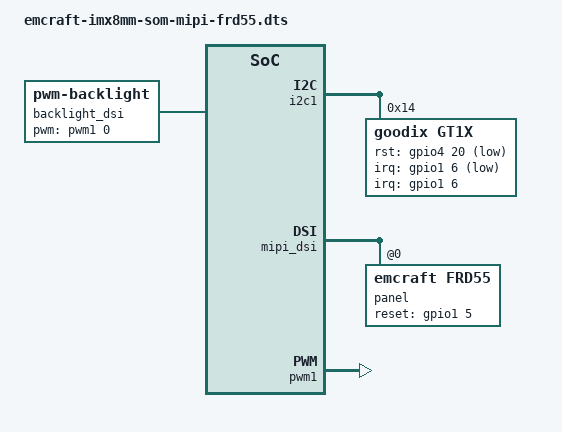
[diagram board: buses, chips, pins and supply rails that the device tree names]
/*
 * Copyright 2019 Emcraft Systems
 *
 * This program is free software; you can redistribute it and/or
 * modify it under the terms of the GNU General Public License
 * as published by the Free Software Foundation; either version 2
 * of the License, or (at your option) any later version.
 *
 * This program is distributed in the hope that it will be useful,
 * but WITHOUT ANY WARRANTY; without even the implied warranty of
 * MERCHANTABILITY or FITNESS FOR A PARTICULAR PURPOSE.  See the
 * GNU General Public License for more details.
 */

#include "emcraft-imx8mm-som.dts"

/ {
	backlight_dsi {
		compatible = "pwm-backlight";
		pwms = <&pwm1 0 200000>;
		brightness-levels = <0 10 20 30 40 50 60 70 80 90>;
		/* Default brightness level (index into the array defined by the "brightness-levels" property) */
		default-brightness-level = <7>;
		status = "okay";
	};
};

&iomuxc {
	pinctrl-names = "default";

	imx8mm-som {
		pinctrl_dsi: dsigrp {
			fsl,pins = <
				MX8MM_IOMUXC_GPIO1_IO05_GPIO1_IO5		0x16
			>;
		};
		pinctrl_pwm1: pwm1 {
			fsl,pins = <
				MX8MM_IOMUXC_GPIO1_IO01_PWM1_OUT 	0xc6
			>;
		};
		pinctrl_goodix_ts: gt1x {
			fsl,pins = <
				MX8MM_IOMUXC_GPIO1_IO06_GPIO1_IO6	0x16	/* TOUCH INT */
				MX8MM_IOMUXC_SAI1_MCLK_GPIO4_IO20	0x16	/* TOUCH RST */
			>;
		};
	};
};

&i2c1 {
	goodix: goodix_ts@14 {
		compatible = "goodix,gt1x";
		pinctrl-names = "default";
		pinctrl-0 = <&pinctrl_goodix_ts>;
		reg = <0x14>;
		interrupt-parent = <&gpio1>;
		interrupts = <6  IRQ_TYPE_LEVEL_LOW>;
		goodix,rst-gpio = <&gpio4 20 GPIO_ACTIVE_LOW>;
		goodix,irq-gpio = <&gpio1 6 GPIO_ACTIVE_LOW>;
	};
};

&mipi_dsi {
	status = "okay";

	panel@0 {
		compatible = "emcraft,frd55";
		reg = <0>;
		pinctrl-0 = <&pinctrl_mipi_dsi_en>;
		reset-gpio = <&gpio1 5 GPIO_ACTIVE_HIGH>;
		dsi-lanes = <4>;
		video-mode = <2>;	/* 0: burst mode
					 * 1: non-burst mode with sync event
					 * 2: non-burst mode with sync pulse
					 */
		panel-width-mm = <68>;
		panel-height-mm = <120>;
		status = "okay";
	};
};

&pwm1 {
	pinctrl-names = "default";
	pinctrl-0 = <&pinctrl_pwm1>;
	status = "okay";
};

